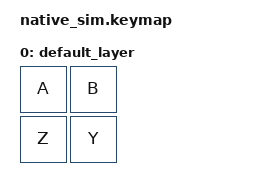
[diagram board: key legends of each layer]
#include <dt-bindings/zmk/keys.h>
#include <behaviors.dtsi>
#include <dt-bindings/zmk/input_matrix_mock.h>

/ {
    combos {
        compatible = "zmk,combos";
        combo_one {
            timeout-ms = <30>;
            key-positions = <0 1>;
            bindings = <&kp C>;
        };

        combo_two {
            timeout-ms = <30>;
            key-positions = <2 3>;
            bindings = <&kp D>;
        };
    };

    keymap {
        compatible = "zmk,keymap";

        default_layer {
            bindings = <
                &kp A &kp B
                &kp Z &kp Y
            >;
        };
    };
};

&matrix {
    events = <
        ZMK_MOCK_PRESS(0,0,10)
        ZMK_MOCK_PRESS(0,1,10)
        ZMK_MOCK_PRESS(1,0,10)
        ZMK_MOCK_PRESS(1,1,10)

        ZMK_MOCK_RELEASE(1,0,10)
        ZMK_MOCK_RELEASE(1,1,10)
        ZMK_MOCK_RELEASE(0,0,10)
        ZMK_MOCK_RELEASE(0,1,10)
    >;
};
